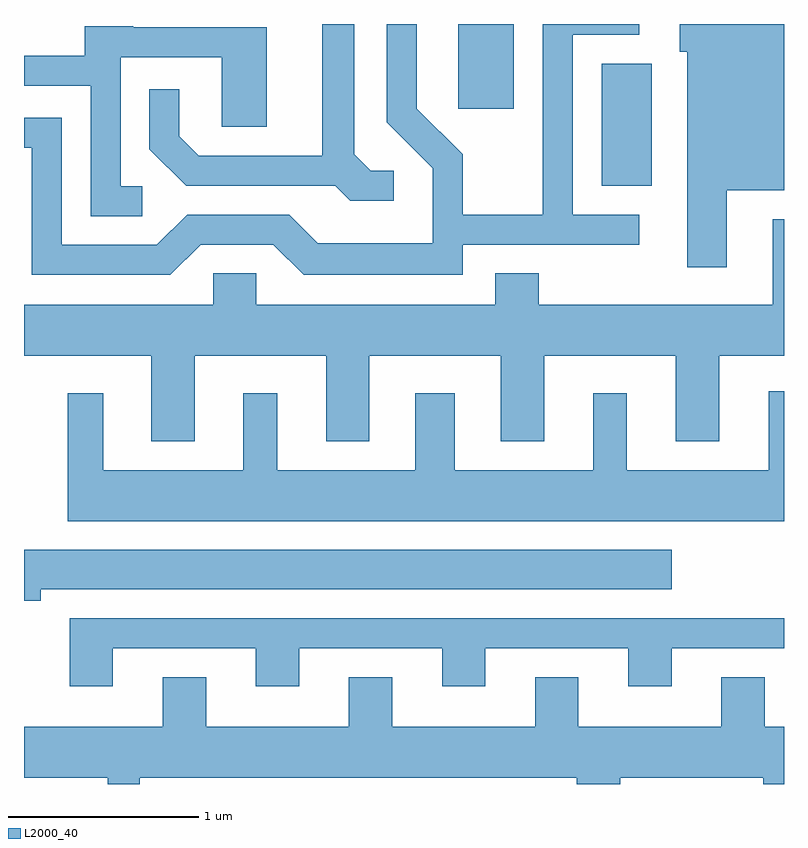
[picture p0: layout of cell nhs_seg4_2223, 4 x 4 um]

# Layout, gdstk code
import gdstk
lib = gdstk.Library(unit=1e-6, precision=1e-09)
def R(c, l, rs):  # rectangles x0, y0, x1, y1
    for r in rs: c.add(gdstk.rectangle(r[:2], r[2:], *l))
def P(c, l, *ps):  # polygons
    for p in ps: c.add(gdstk.Polygon(p, *l))
L2000_40 = (2000, 40)

nhs_seg4_2223 = lib.new_cell('nhs_seg4_2223')
R(nhs_seg4_2223, L2000_40, [(252.651,1351.131,252.914,1351.774), (251.896,1351.536,252.189,1351.982), (249.611,1351.981,249.709,1351.982)])
P(nhs_seg4_2223, L2000_40, [(251.558,1351.209),(251.437,1351.209),(251.349,1351.297),(251.349,1351.982),(251.181,1351.982),(251.181,1351.289),(250.532,1351.289),(250.429,1351.392),(250.429,1351.638),(250.271,1351.638),(250.271,1351.324),(250.464,1351.131),(251.249,1351.131),(251.329,1351.051),(251.558,1351.051)],
  [(250.542,1350.821),(250.924,1350.821),(251.084,1350.661),(251.919,1350.661),(251.919,1350.821),(252.848,1350.821),(252.848,1350.979),(252.499,1350.979),(252.499,1351.926),(252.848,1351.926),(252.848,1351.982),(252.341,1351.982),(252.341,1350.979),(251.919,1350.979),(251.919,1351.297),(251.679,1351.537),(251.679,1351.982),(251.521,1351.982),(251.521,1351.464),(251.761,1351.224),(251.761,1350.829),(251.157,1350.829),(251.007,1350.979),(250.469,1350.979),(250.309,1350.819),(249.809,1350.819),(249.809,1351.489),(249.611,1351.489),(249.611,1351.331),(249.651,1351.331),(249.651,1350.661),(250.382,1350.661)],
  [(253.309,1351.106),(253.611,1351.106),(253.611,1351.982),(253.061,1351.982),(253.061,1351.836),(253.101,1351.836),(253.101,1350.701),(253.309,1350.701)],
  [(250.233,1351.129),(250.119,1351.129),(250.119,1351.806),(250.651,1351.806),(250.651,1351.441),(250.889,1351.441),(250.889,1351.964),(250.185,1351.964),(250.185,1351.969),(249.931,1351.969),(249.931,1351.814),(249.611,1351.814),(249.611,1351.656),(249.961,1351.656),(249.961,1350.971),(250.233,1350.971)],
  [(252.349,1350.236),(253.041,1350.236),(253.041,1349.786),(253.269,1349.786),(253.269,1350.236),(253.611,1350.236),(253.611,1350.954),(253.551,1350.954),(253.551,1350.504),(252.319,1350.504),(252.319,1350.669),(252.091,1350.669),(252.091,1350.504),(250.834,1350.504),(250.834,1350.669),(250.606,1350.669),(250.606,1350.504),(249.611,1350.504),(249.611,1350.236),(250.281,1350.236),(250.281,1349.786),(250.509,1349.786),(250.509,1350.236),(251.201,1350.236),(251.201,1349.786),(251.429,1349.786),(251.429,1350.236),(252.121,1350.236),(252.121,1349.786),(252.349,1349.786)],
  [(253.611,1350.048),(253.531,1350.048),(253.531,1349.634),(252.784,1349.634),(252.784,1350.039),(252.606,1350.039),(252.606,1349.634),(251.879,1349.634),(251.879,1350.039),(251.671,1350.039),(251.671,1349.634),(250.944,1349.634),(250.944,1350.039),(250.766,1350.039),(250.766,1349.634),(250.029,1349.634),(250.029,1350.039),(249.841,1350.039),(249.841,1349.366),(253.611,1349.366)],
  [(249.699,1349.006),(253.019,1349.006),(253.019,1349.214),(249.611,1349.214),(249.611,1348.946),(249.699,1348.946)],
  [(250.079,1348.696),(250.831,1348.696),(250.831,1348.496),(251.059,1348.496),(251.059,1348.696),(251.811,1348.696),(251.811,1348.496),(252.039,1348.496),(252.039,1348.696),(252.791,1348.696),(252.791,1348.496),(253.019,1348.496),(253.019,1348.696),(253.611,1348.696),(253.611,1348.854),(249.851,1348.854),(249.851,1348.496),(250.079,1348.496)],
  [(250.219,1348.016),(252.521,1348.016),(252.521,1347.982),(252.749,1347.982),(252.749,1348.016),(253.501,1348.016),(253.501,1347.982),(253.611,1347.982),(253.611,1348.284),(253.509,1348.284),(253.509,1348.544),(253.281,1348.544),(253.281,1348.284),(252.529,1348.284),(252.529,1348.544),(252.301,1348.544),(252.301,1348.284),(251.549,1348.284),(251.549,1348.544),(251.321,1348.544),(251.321,1348.284),(250.569,1348.284),(250.569,1348.544),(250.341,1348.544),(250.341,1348.284),(249.611,1348.284),(249.611,1348.016),(250.051,1348.016),(250.051,1347.982),(250.219,1347.982)])

lib.write_gds('nhs_seg4_2223.gds')
